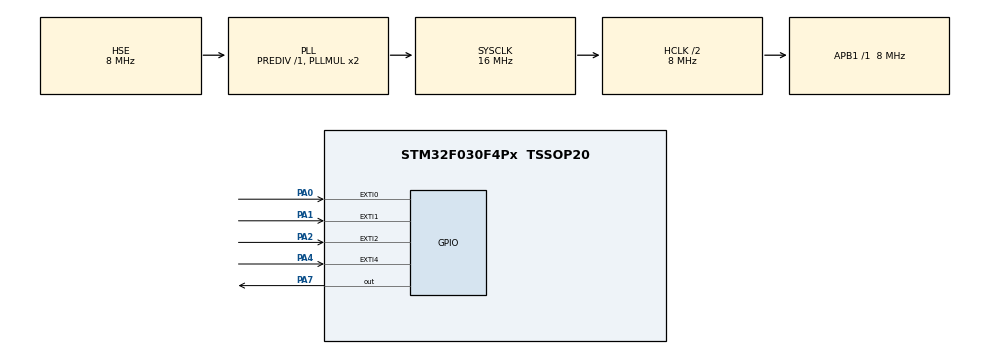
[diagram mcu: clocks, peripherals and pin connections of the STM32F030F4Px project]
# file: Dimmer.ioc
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Mcu.Family=STM32F0
Mcu.Name=STM32F030F4Px
Mcu.Package=TSSOP20
NVIC.EXTI0_1_IRQn=true\:0\:0\:false\:false\:true\:true\:true
NVIC.EXTI2_3_IRQn=true\:0\:0\:false\:false\:true\:true\:true
NVIC.EXTI4_15_IRQn=true\:0\:0\:false\:false\:true\:true\:true
NVIC.TIM3_IRQn=true\:0\:0\:false\:false\:true\:true\:true
PA0.GPIO_ModeDefaultEXTI=GPIO_MODE_IT_FALLING
PA0.Signal=GPXTI0
PA1.GPIO_ModeDefaultEXTI=GPIO_MODE_IT_FALLING
PA1.Signal=GPXTI1
PA13.Mode=Serial_Wire
PA13.Signal=SYS_SWDIO
PA14.Mode=Serial_Wire
PA14.Signal=SYS_SWCLK
PA2.GPIO_ModeDefaultEXTI=GPIO_MODE_IT_FALLING
PA2.Signal=GPXTI2
PA4.GPIO_ModeDefaultEXTI=GPIO_MODE_IT_FALLING
PA4.GPIO_PuPd=GPIO_PULLDOWN
PA4.Signal=GPXTI4
PA7.GPIO_PuPd=GPIO_PULLDOWN
PA7.GPIO_Speed=GPIO_SPEED_FREQ_HIGH
PA7.Signal=GPIO_Output
PF0-OSC_IN.Mode=HSE-External-Oscillator
PF0-OSC_IN.Signal=RCC_OSC_IN
PF1-OSC_OUT.Mode=HSE-External-Oscillator
PF1-OSC_OUT.Signal=RCC_OSC_OUT
ProjectManager.HeapSize=0x200
ProjectManager.StackSize=0x400
ProjectManager.TargetToolchain=STM32CubeIDE
RCC.AHBCLKDivider=RCC_SYSCLK_DIV2
RCC.AHBFreq_Value=8000000
RCC.APB1Freq_Value=8000000
RCC.APB1TimFreq_Value=8000000
RCC.HCLKFreq_Value=8000000
RCC.PLLSourceVirtual=RCC_PLLSOURCE_HSE
RCC.SYSCLKFreq_VALUE=16000000
RCC.SYSCLKSource=RCC_SYSCLKSOURCE_PLLCLK
TIM3.Period=10
TIM3.Prescaler=80-1
VP_TIM3_VS_ClockSourceINT.Mode=Internal
board=custom

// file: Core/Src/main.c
/* USER CODE BEGIN Header */
/**
  ******************************************************************************
  * @file           : main.c
  * @brief          : Main program body
  ******************************************************************************
  * @attention
  *
  * <h2><center>&copy; Copyright (c) 2020 STMicroelectronics.
  * All rights reserved.</center></h2>
  *
  * This software component is licensed by ST under BSD 3-Clause license,
  * the "License"; You may not use this file except in compliance with the
  * License. You may obtain a copy of the License at:
  *                        opensource.org/licenses/BSD-3-Clause
  *
  ******************************************************************************
  */
/* USER CODE END Header */
#include "main.h"

TIM_HandleTypeDef htim3;

/* USER CODE BEGIN PV */
uint32_t timer=0;	// Timer Variable -> Time= timer * 100 uS
uint32_t time=100;	// Desired Time Variable

/* USER CODE END PV */

void SystemClock_Config(void);
static void MX_GPIO_Init(void);
static void MX_TIM3_Init(void);
/* USER CODE BEGIN PFP */
// ############################## Timer 3 Interrupt routine ##############################
void HAL_TIM_PeriodElapsedCallback(TIM_HandleTypeDef *htim){
if(htim->Instance==TIM3){
timer++;											 // Adds 100uS every interrupt
if(timer==time){									 // Triggers TRIAC gate on desired time
HAL_GPIO_WritePin(GPIOA,GPIO_PIN_7,GPIO_PIN_SET);
timer=0;
HAL_TIM_Base_Stop_IT(&htim3);
}
}
}
//############################## External Interrupt routine ##############################
void HAL_GPIO_EXTI_Callback(uint16_t GPIO_Pin){
if(GPIO_Pin==GPIO_PIN_4){							// Zero cross detection on PA4
timer=0;
HAL_TIM_Base_Start_IT(&htim3);						// Starts timer on zero cross detection
HAL_GPIO_WritePin(GPIOA, GPIO_PIN_7, GPIO_PIN_RESET);
}
// ------------------ input pulses for pulse increment or decrement ------------------
if(GPIO_Pin==GPIO_PIN_0){
time-=1;
if(time<1)time=1;
}
if(GPIO_Pin==GPIO_PIN_1){
time+=1;
if(time>100)time=100;
}
if(GPIO_Pin==GPIO_PIN_2){
time=100;
}
}
/* USER CODE END PFP */

int main(void)
{

  /* MCU Configuration--------------------------------------------------------*/

  /* Reset of all peripherals, Initializes the Flash interface and the Systick. */
  HAL_Init();

  /* Configure the system clock */
  SystemClock_Config();

  /* Initialize all configured peripherals */
  MX_GPIO_Init();
  MX_TIM3_Init();
  /* USER CODE BEGIN 2 */
  HAL_TIM_Base_Start_IT(&htim3);
  /* USER CODE END 2 */

  /* Infinite loop */
  while (1)
  {

  }
}

void SystemClock_Config(void)
{
  RCC_OscInitTypeDef RCC_OscInitStruct = {0};
  RCC_ClkInitTypeDef RCC_ClkInitStruct = {0};

  /** Initializes the RCC Oscillators according to the specified parameters
  * in the RCC_OscInitTypeDef structure.
  */
  RCC_OscInitStruct.OscillatorType = RCC_OSCILLATORTYPE_HSE;
  RCC_OscInitStruct.HSEState = RCC_HSE_ON;
  RCC_OscInitStruct.PLL.PLLState = RCC_PLL_ON;
  RCC_OscInitStruct.PLL.PLLSource = RCC_PLLSOURCE_HSE;
  RCC_OscInitStruct.PLL.PLLMUL = RCC_PLL_MUL2;
  RCC_OscInitStruct.PLL.PREDIV = RCC_PREDIV_DIV1;
  if (HAL_RCC_OscConfig(&RCC_OscInitStruct) != HAL_OK)
  {
    Error_Handler();
  }
  /** Initializes the CPU, AHB and APB buses clocks
  */
  RCC_ClkInitStruct.ClockType = RCC_CLOCKTYPE_HCLK|RCC_CLOCKTYPE_SYSCLK
                              |RCC_CLOCKTYPE_PCLK1;
  RCC_ClkInitStruct.SYSCLKSource = RCC_SYSCLKSOURCE_PLLCLK;
  RCC_ClkInitStruct.AHBCLKDivider = RCC_SYSCLK_DIV2;
  RCC_ClkInitStruct.APB1CLKDivider = RCC_HCLK_DIV1;

  if (HAL_RCC_ClockConfig(&RCC_ClkInitStruct, FLASH_LATENCY_0) != HAL_OK)
  {
    Error_Handler();
  }
}

static void MX_TIM3_Init(void)
{

  TIM_ClockConfigTypeDef sClockSourceConfig = {0};
  TIM_MasterConfigTypeDef sMasterConfig = {0};

  htim3.Instance = TIM3;
  htim3.Init.Prescaler = 80-1;
  htim3.Init.CounterMode = TIM_COUNTERMODE_UP;
  htim3.Init.Period = 10;
  htim3.Init.ClockDivision = TIM_CLOCKDIVISION_DIV1;
  htim3.Init.AutoReloadPreload = TIM_AUTORELOAD_PRELOAD_DISABLE;
  if (HAL_TIM_Base_Init(&htim3) != HAL_OK)
  {
    Error_Handler();
  }
  sClockSourceConfig.ClockSource = TIM_CLOCKSOURCE_INTERNAL;
  if (HAL_TIM_ConfigClockSource(&htim3, &sClockSourceConfig) != HAL_OK)
  {
    Error_Handler();
  }
  sMasterConfig.MasterOutputTrigger = TIM_TRGO_RESET;
  sMasterConfig.MasterSlaveMode = TIM_MASTERSLAVEMODE_DISABLE;
  if (HAL_TIMEx_MasterConfigSynchronization(&htim3, &sMasterConfig) != HAL_OK)
  {
    Error_Handler();
  }

}

static void MX_GPIO_Init(void)
{
  GPIO_InitTypeDef GPIO_InitStruct = {0};

  /* GPIO Ports Clock Enable */
  __HAL_RCC_GPIOF_CLK_ENABLE();
  __HAL_RCC_GPIOA_CLK_ENABLE();

  /*Configure GPIO pin Output Level */
  HAL_GPIO_WritePin(GPIOA, GPIO_PIN_7, GPIO_PIN_RESET);

  /*Configure GPIO pins : PA0 PA1 PA2 */
  GPIO_InitStruct.Pin = GPIO_PIN_0|GPIO_PIN_1|GPIO_PIN_2;
  GPIO_InitStruct.Mode = GPIO_MODE_IT_FALLING;
  GPIO_InitStruct.Pull = GPIO_NOPULL;
  HAL_GPIO_Init(GPIOA, &GPIO_InitStruct);

  /*Configure GPIO pin : PA4 */
  GPIO_InitStruct.Pin = GPIO_PIN_4;
  GPIO_InitStruct.Mode = GPIO_MODE_IT_FALLING;
  GPIO_InitStruct.Pull = GPIO_PULLDOWN;
  HAL_GPIO_Init(GPIOA, &GPIO_InitStruct);

  /*Configure GPIO pin : PA7 */
  GPIO_InitStruct.Pin = GPIO_PIN_7;
  GPIO_InitStruct.Mode = GPIO_MODE_OUTPUT_PP;
  GPIO_InitStruct.Pull = GPIO_PULLDOWN;
  GPIO_InitStruct.Speed = GPIO_SPEED_FREQ_HIGH;
  HAL_GPIO_Init(GPIOA, &GPIO_InitStruct);

  /* EXTI interrupt init*/
  HAL_NVIC_SetPriority(EXTI0_1_IRQn, 0, 0);
  HAL_NVIC_EnableIRQ(EXTI0_1_IRQn);

  HAL_NVIC_SetPriority(EXTI2_3_IRQn, 0, 0);
  HAL_NVIC_EnableIRQ(EXTI2_3_IRQn);

  HAL_NVIC_SetPriority(EXTI4_15_IRQn, 0, 0);
  HAL_NVIC_EnableIRQ(EXTI4_15_IRQn);

}

void Error_Handler(void)
{
}

/************************ (C) COPYRIGHT STMicroelectronics *****END OF FILE****/
